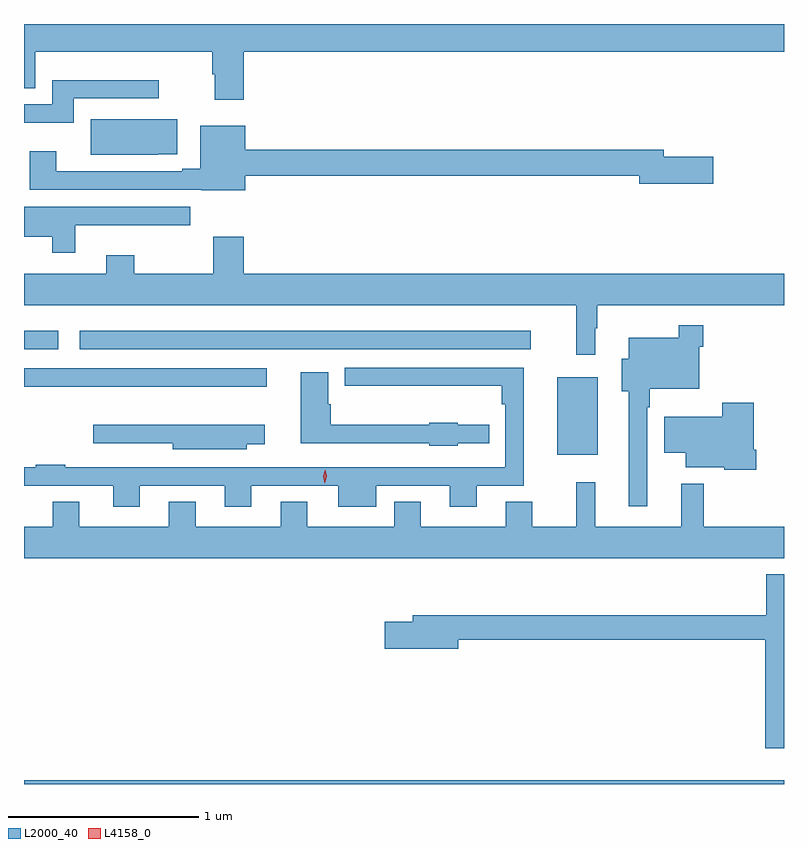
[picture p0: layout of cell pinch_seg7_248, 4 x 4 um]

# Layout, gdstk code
import gdstk
lib = gdstk.Library(unit=1e-6, precision=1e-09)
def R(c, l, rs):  # rectangles x0, y0, x1, y1
    for r in rs: c.add(gdstk.rectangle(r[:2], r[2:], *l))
def P(c, l, *ps):  # polygons
    for p in ps: c.add(gdstk.Polygon(p, *l))
L2000_40 = (2000, 40)
L4158_0 = (4158, 0)

pinch_seg7_248 = lib.new_cell('pinch_seg7_248')
R(pinch_seg7_248, L2000_40, [(813.454,1060.699,817.454,1060.72), (816.26,1062.431,816.475,1062.841), (813.454,1062.791,814.732,1062.888), (813.454,1062.987,813.634,1063.084), (813.747,1062.987,816.121,1063.084)])
P(pinch_seg7_248, L2000_40, [(813.454,1064.362),(813.514,1064.362),(813.514,1064.552),(814.445,1064.552),(814.445,1064.435),(814.457,1064.435),(814.457,1064.301),(814.61,1064.301),(814.61,1064.552),(817.454,1064.552),(817.454,1064.699),(813.454,1064.699)],
  [(813.715,1064.307),(814.162,1064.307),(814.162,1064.404),(813.602,1064.404),(813.602,1064.277),(813.454,1064.277),(813.454,1064.18),(813.715,1064.18)],
  [(814.157,1064.013),(814.26,1064.013),(814.26,1064.197),(813.806,1064.197),(813.806,1064.012),(814.157,1064.012)],
  [(814.618,1063.9),(816.692,1063.9),(816.692,1063.858),(817.081,1063.858),(817.081,1064),(816.82,1064),(816.82,1064.036),(814.618,1064.036),(814.618,1064.164),(814.382,1064.164),(814.382,1063.937),(814.286,1063.937),(814.286,1063.923),(813.625,1063.923),(813.625,1064.029),(813.485,1064.029),(813.485,1063.827),(814.386,1063.827),(814.386,1063.825),(814.618,1063.825)],
  [(813.724,1063.64),(814.33,1063.64),(814.33,1063.737),(813.606,1063.737),(813.606,1063.738),(813.454,1063.738),(813.454,1063.58),(813.602,1063.58),(813.602,1063.494),(813.724,1063.494)],
  [(816.46,1063.097),(816.472,1063.097),(816.472,1063.22),(817.454,1063.22),(817.454,1063.384),(814.61,1063.384),(814.61,1063.579),(814.45,1063.579),(814.45,1063.384),(814.035,1063.384),(814.035,1063.483),(813.887,1063.483),(813.887,1063.384),(813.454,1063.384),(813.454,1063.22),(816.361,1063.22),(816.361,1062.957),(816.46,1062.957)],
  [(816.735,1062.683),(816.748,1062.683),(816.748,1062.779),(817.008,1062.779),(817.008,1063.001),(817.028,1063.001),(817.028,1063.114),(816.9,1063.114),(816.9,1063.048),(816.638,1063.048),(816.638,1062.937),(816.599,1062.937),(816.599,1062.767),(816.638,1062.767),(816.638,1062.162),(816.735,1062.162)],
  [(814.063,1062.27),(814.511,1062.27),(814.511,1062.158),(814.651,1062.158),(814.651,1062.27),(815.108,1062.27),(815.108,1062.158),(815.308,1062.158),(815.308,1062.27),(815.696,1062.27),(815.696,1062.158),(815.836,1062.158),(815.836,1062.27),(816.085,1062.27),(816.085,1062.891),(815.141,1062.891),(815.141,1062.794),(815.968,1062.794),(815.968,1062.698),(815.988,1062.698),(815.988,1062.366),(813.672,1062.366),(813.672,1062.379),(813.517,1062.379),(813.517,1062.366),(813.454,1062.366),(813.454,1062.27),(813.923,1062.27),(813.923,1062.158),(814.063,1062.158)],
  [(815.736,1062.492),(815.903,1062.492),(815.903,1062.59),(815.736,1062.59),(815.736,1062.601),(815.586,1062.601),(815.586,1062.59),(815.069,1062.59),(815.069,1062.698),(815.056,1062.698),(815.056,1062.865),(814.91,1062.865),(814.91,1062.492),(815.586,1062.492),(815.586,1062.479),(815.736,1062.479)],
  [(817.307,1062.457),(817.294,1062.457),(817.294,1062.706),(817.129,1062.706),(817.129,1062.631),(816.824,1062.631),(816.824,1062.443),(816.938,1062.443),(816.938,1062.365),(817.14,1062.365),(817.14,1062.353),(817.307,1062.353)],
  [(814.626,1062.488),(814.72,1062.488),(814.72,1062.589),(814.342,1062.589),(814.342,1062.59),(813.819,1062.59),(813.819,1062.492),(814.238,1062.492),(814.238,1062.461),(814.626,1062.461)],
  [(817.454,1062.052),(817.031,1062.052),(817.031,1062.28),(816.914,1062.28),(816.914,1062.052),(816.461,1062.052),(816.461,1062.286),(816.361,1062.286),(816.361,1062.052),(816.13,1062.052),(816.13,1062.185),(815.99,1062.185),(815.99,1062.052),(815.542,1062.052),(815.542,1062.185),(815.402,1062.185),(815.402,1062.052),(814.945,1062.052),(814.945,1062.185),(814.805,1062.185),(814.805,1062.052),(814.357,1062.052),(814.357,1062.185),(814.217,1062.185),(814.217,1062.052),(813.745,1062.052),(813.745,1062.185),(813.605,1062.185),(813.605,1062.052),(813.454,1062.052),(813.454,1061.888),(817.454,1061.888)],
  [(817.454,1061.803),(817.361,1061.803),(817.361,1061.587),(815.501,1061.587),(815.501,1061.553),(815.352,1061.553),(815.352,1061.411),(815.74,1061.411),(815.74,1061.458),(817.354,1061.458),(817.354,1060.886),(817.454,1060.886)])
P(pinch_seg7_248, L4158_0, [(815.036,1062.282),(815.036,1062.282),(815.028,1062.318),(815.039,1062.354),(815.039,1062.354),(815.039,1062.354),(815.048,1062.318),(815.037,1062.282)])

lib.write_gds('pinch_seg7_248.gds')
